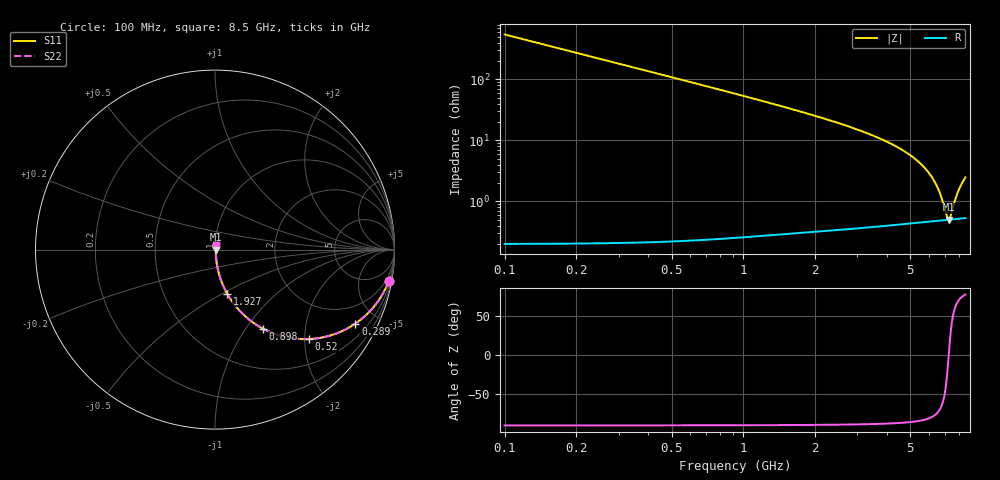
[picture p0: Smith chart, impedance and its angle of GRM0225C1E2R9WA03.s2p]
!Murata Part Number: GRM0225C1E2R9WA03
!These Parameters are Measured in Series Mode Connection
!Data Generated on Mar 30, 2021
!  o--ll--o
!Port1  Port2
!  o------o
!Operation Temp=25[degC], DC Bias Voltage=0[V]
!Freq. Start=100[MHz] Stop=9[GHz] 401[Steps]
# Hz S RI R 50
!Freq.(Hz) S11(Real) S11(Imag) S21(Real) S21(Imag) S12(Real) S12(Imag) S22(Real) S22(Imag)
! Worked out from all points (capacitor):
!   401 points, 100 MHz to 8.5 GHz, reference 50 ohm
!   read as one part in series: C = 2.9 pF near 142 MHz
!   lowest |Z| = 499 mohm at 7.24 GHz (marker M1)
!   series resonance near 7.238 GHz, so ESL is about 170 pH
!   S11 on the Smith chart (normalised r, x): 100 MHz: 1, -11; 289 MHz: 1.00, -3.79; 520 MHz: 1.00, -2.10; 898 MHz: 1.00, -1.20; 1.927 GHz: 1.01, -0.53; 8.5 GHz: 1.01, +0.05
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1e8  0.9678 -0.1764  0.0322 0.1764  0.0322 0.1764  0.9678 -0.1764
2.05e8  0.8772 -0.3279  0.1228 0.3279  0.1228 0.3279  0.8772 -0.3279
2.89e8  0.782 -0.4123  0.218 0.4123  0.218 0.4123  0.782 -0.4123
3.94e8  0.6582 -0.4736  0.3418 0.4736  0.3418 0.4736  0.6582 -0.4736
5.2e8  0.524 -0.4984  0.476 0.4984  0.476 0.4984  0.524 -0.4984
7.09e8  0.3701 -0.4813  0.6299 0.4813  0.6299 0.4813  0.3701 -0.4813
8.98e8  0.2662 -0.4399  0.7338 0.4399  0.7338 0.4399  0.2662 -0.4399
1.171e9  0.1733 -0.3756  0.8267 0.3756  0.8267 0.3756  0.1733 -0.3756
1.507e9  0.1098 -0.3084  0.8902 0.3084  0.8902 0.3084  0.1098 -0.3084
1.927e9  0.0675 -0.2451  0.9325 0.2451  0.9325 0.2451  0.0675 -0.2451
2.914e9  0.0273 -0.1521  0.9727 0.1521  0.9727 0.1521  0.0273 -0.1521
4.3e9  0.0106 -0.0807  0.9894 0.0807  0.9894 0.0807  0.0106 -0.0807
5.707e9  0.0058 -0.0356  0.9942 0.0356  0.9942 0.0356  0.0058 -0.0356
6.148e9  0.00526 -0.0243  0.9947 0.0243  0.9947 0.0243  0.00526 -0.0243
6.505e9  0.00502 -0.0159  0.995 0.0159  0.995 0.0159  0.00502 -0.0159
6.778e9  0.00494 -0.00973  0.9951 0.00973  0.9951 0.00973  0.00494 -0.00973
7.114e9  0.00494 -0.00256  0.9951 0.00256  0.9951 0.00256  0.00494 -0.00256
7.24e9  0.00496 4.37e-05  0.995 -4.37e-05  0.995 -4.37e-05  0.00496 4.37e-05
7.345e9  0.005 0.00217  0.995 -0.00217  0.995 -0.00217  0.005 0.00217
7.681e9  0.00515 0.00879  0.9948 -0.00879  0.9948 -0.00879  0.00515 0.00879
7.912e9  0.0053 0.0132  0.9947 -0.0132  0.9947 -0.0132  0.0053 0.0132
8.5e9  0.00583 0.0238  0.9942 -0.0238  0.9942 -0.0238  0.00583 0.0238
